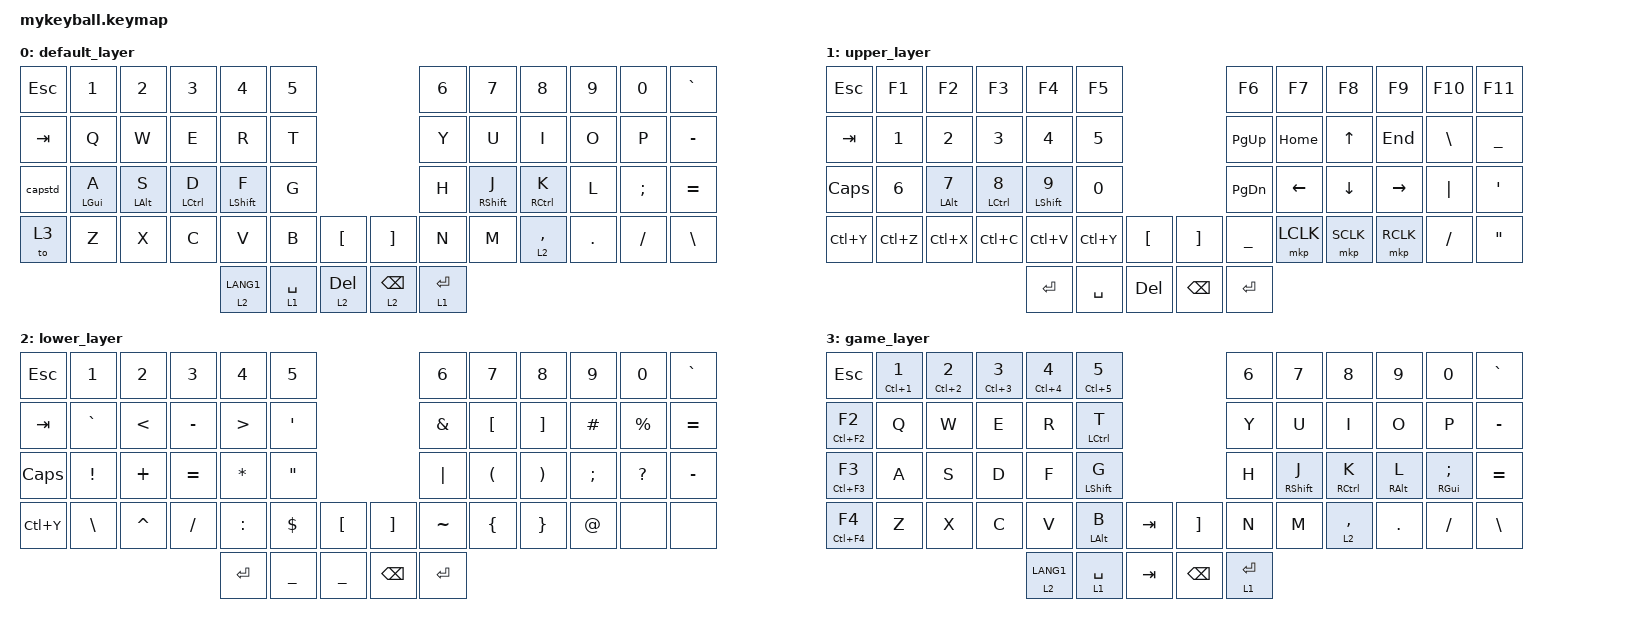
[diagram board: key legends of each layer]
/*
 * Copyright (c) 2020 The ZMK Contributors
 *
 * SPDX-License-Identifier: MIT
 */

#include <dt-bindings/zmk/mouse.h>
#include <behaviors/mouse_keys.dtsi>
#include <behaviors.dtsi>
#include <dt-bindings/zmk/keys.h>

#define DEFAULT 0
#define UPPER 1
#define LOWER 2
#define GAME 3
#define NUM_L 1 2 3 4 5
#define NUM_R 6 7 8 9 10
#define ALPHA_L 13 14 15 16 17 \
                25 26 27 28 29 \
                37 38 39 40 41 42
#define ALPHA_R 18 19 20 21 22 \
                30 31 32 33 34 \
             43 44 45 46 47 48
#define MACRO_L 0 12 24 36
#define MACRO_R 11 23 35 49
#define THUMBS 50 51 52 53 54

/ {
    combos {
        compatible = "zmk,combos";

        // symbols

        combo_gamelayer {
            timeout-ms = <50>;
            key-positions = <0 1>;
            bindings = <&tog 3>;
        };

        combo_navlayer {
            bindings = <&tog 1>;
            key-positions = <0 2>;
        };
    };

    behaviors {
        bhml: balanced_homerow_left {
            compatible = "zmk,behavior-hold-tap";
            #binding-cells = <2>;
            flavor = "balanced";
            tapping-term-ms = <230>;
            quick-tap-ms = <175>;                // repeat on tap-into-hold
            require-prior-idle-ms = <80>;
            bindings = <&kp>, <&kp>;

            hold-trigger-key-positions = <NUM_R ALPHA_R MACRO_R THUMBS>;    // <---[[the W key]]
            hold-trigger-on-release;
        };

        bhmr: balanced_homerow_right {
            compatible = "zmk,behavior-hold-tap";
            #binding-cells = <2>;
            flavor = "balanced";
            tapping-term-ms = <230>;
            quick-tap-ms = <175>;                // repeat on tap-into-hold
            require-prior-idle-ms = <50>;
            bindings = <&kp>, <&kp>;

            hold-trigger-key-positions = <NUM_L ALPHA_L MACRO_L THUMBS>;    // <---[[the W key]]
            hold-trigger-on-release;
        };

        capstd: tap_dance_caps {
            compatible = "zmk,behavior-tap-dance";
            #binding-cells = <0>;
            tapping-term-ms = <180>;
            bindings = <&caps_word>, <&kp CAPS>;
        };

        alttabtd: tap_dance_alttab {
            compatible = "zmk,behavior-tap-dance";
            #binding-cells = <0>;
            tapping-term-ms = <180>;
            bindings = <&kp TAB>, <&kp LA(TAB)>;
        };

        quote: quote {
            compatible = "zmk,behavior-tap-dance";
            label = "QUOTE";
            #binding-cells = <0>;
            bindings = <&kp SQT>, <&kp DQT>;
        };

        colon: colon {
            compatible = "zmk,behavior-tap-dance";
            label = "COLON";
            #binding-cells = <0>;
            bindings = <&kp COLON>, <&kp SEMI>;

            tapping-term-ms = <180>;
        };

        brk_left: brk_left {
            compatible = "zmk,behavior-tap-dance";
            label = "BRK_LEFT";
            #binding-cells = <0>;
            bindings = <&kp LEFT_BRACKET>, <&kp LEFT_BRACE>;
        };

        brk_right: brk_right {
            compatible = "zmk,behavior-tap-dance";
            label = "BRK_RIGHT";
            #binding-cells = <0>;
            bindings = <&kp RIGHT_BRACKET>, <&kp RIGHT_BRACE>;
        };
    };

    keymap {
        compatible = "zmk,keymap";

        default_layer {
            // ------------------------------------------------------------------------------------------------------------
            // |  ESC  |  1  |  2  |  3   |  4   |  5   |                   |  6   |  7    |  8    |  9   |   0   |   `   |
            // |  TAB  |  Q  |  W  |  E   |  R   |  T   |                   |  Y   |  U    |  I    |  O   |   P   |   -   |
            // |  CTRL |  A  |  S  |  D   |  F   |  G   |                   |  H   |  J    |  K    |  L   |   ;   |   '   |
            // | SHIFT |  Z  |  X  |  C   |  V   |  B   |   "["  |  |  "]"  |  N   |  M    |  ,    |  .   |   /   | SHIFT |
            //                     | ALT  | GUI  | LOWER|  SPACE |  | ENTER | RAISE| BSPC  | GUI   |

            bindings = <
&kp ESC  &kp N1        &kp N2        &kp N3         &kp N4          &kp N5                                     &kp N6     &kp N7          &kp N8         &kp N9   &kp N0         &kp GRAVE
&kp TAB  &kp Q         &kp W         &kp E          &kp R           &kp T                                      &kp Y      &kp U           &kp I          &kp O    &kp P          &kp MINUS
&capstd  &bhml LGUI A  &bhml LALT S  &bhml LCTRL D  &bhml LSHIFT F  &kp G                                      &kp H      &bhmr RSHIFT J  &bhmr RCTRL K  &kp L    &kp SEMICOLON  &kp EQUAL
&to 3    &kp Z         &kp X         &kp C          &kp V           &kp B        &kp LBKT     &kp RBKT         &kp N      &kp M           &lt 2 COMMA    &kp DOT  &kp FSLH       &kp BSLH
                                                    &lt 2 LANG1     &lt 1 SPACE  &lt 2 DEL    &lt 2 BACKSPACE  &lt 1 RET
            >;
        };

        upper_layer {
            bindings = <
&kp ESC    &kp F1        &kp F2             &kp F3          &kp F4           &kp F5                           &kp F6         &kp F7     &kp F8     &kp F9     &kp F10        &kp F11
&kp TAB    &kp NUMBER_1  &kp NUMBER_2       &kp NUMBER_3    &kp NUMBER_4     &kp N5                           &kp PG_UP      &kp HOME   &kp UP     &kp END    &kp BACKSLASH  &kp UNDER
&kp CAPS   &kp NUMBER_6  &bhml LEFT_ALT N7  &bhml LCTRL N8  &bhml LSHIFT N9  &kp N0                           &kp PAGE_DOWN  &kp LEFT   &kp DOWN   &kp RIGHT  &kp PIPE       &kp SQT
&kp LC(Y)  &kp LC(Z)     &kp LC(X)          &kp LC(C)       &kp LC(V)        &kp LC(Y)  &kp LBKT    &kp RBKT  &kp UNDER      &mkp LCLK  &mkp SCLK  &mkp RCLK  &kp FSLH       &kp DQT
                                                            &kp RET          &kp SPACE  &kp DEL     &kp BSPC  &kp RET
            >;
        };

        lower_layer {
            bindings = <
&kp ESC    &kp N1         &kp N2         &kp N3     &kp N4            &kp N5                                 &kp N6         &kp N7                &kp N8                 &kp N9    &kp N0        &kp GRAVE
&kp TAB    &kp GRAVE      &kp LESS_THAN  &kp MINUS  &kp GREATER_THAN  &kp SQT                                &kp AMPERSAND  &kp LEFT_BRACKET      &kp RIGHT_BRACKET      &kp HASH  &kp PERCENT   &kp EQUAL
&kp CAPS   &kp EXCL       &kp PLUS       &kp EQUAL  &kp ASTRK         &kp DQT                                &kp PIPE       &kp LEFT_PARENTHESIS  &kp RIGHT_PARENTHESIS  &kp SEMI  &kp QUESTION  &kp MINUS
&kp LC(Y)  &kp BACKSLASH  &kp CARET      &kp SLASH  &kp COLON         &kp DOLLAR      &kp LBKT     &kp RBKT  &kp TILDE      &kp LEFT_BRACE        &kp RIGHT_BRACE        &kp AT    &none         &none
                                                    &kp RET           &kp UNDERSCORE  &kp UNDER    &kp BSPC  &kp RET
            >;
        };

        game_layer {
            bindings = <
&kp ESC          &bhml LC(N1) N1  &bhml LC(N2) N2  &bhml LC(N3) N3  &bhml LC(N4) N4  &bhml LC(N5) N5                       &kp N6     &kp N7         &kp N8         &kp N9        &kp N0           &kp GRAVE
&bhml LC(F2) F2  &kp Q            &kp W            &kp E            &kp R            &bhml LCTRL T                         &kp Y      &kp U          &kp I          &kp O         &kp P            &kp MINUS
&bhml LC(F3) F3  &kp A            &kp S            &kp D            &kp F            &bhml LSHIFT G                        &kp H      &bhmr RSHFT J  &bhmr RCTRL K  &bhmr RALT L  &bhmr RGUI SEMI  &kp EQUAL
&bhml LC(F4) F4  &kp Z            &kp X            &kp C            &kp V            &bhml LALT B     &kp TAB    &kp RBKT  &kp N      &kp M          &lt 2 COMMA    &kp DOT       &kp FSLH         &kp BSLH
                                                                    &lt 2 LANG1      &lt 1 SPACE      &kp TAB    &kp BSPC  &lt 1 RET
            >;
        };
    };
};
